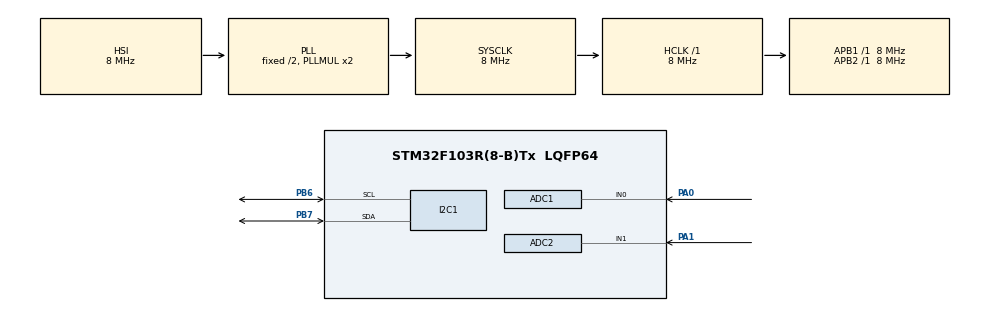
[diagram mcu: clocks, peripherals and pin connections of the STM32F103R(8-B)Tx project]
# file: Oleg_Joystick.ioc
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ADC1.Channel-0\#ChannelRegularConversion=ADC_CHANNEL_0
ADC1.NbrOfConversionFlag=1
ADC1.Rank-0\#ChannelRegularConversion=1
ADC1.SamplingTime-0\#ChannelRegularConversion=ADC_SAMPLETIME_1CYCLE_5
ADC1.master=1
ADC2.Channel-0\#ChannelRegularConversion=ADC_CHANNEL_1
ADC2.NbrOfConversionFlag=1
ADC2.Rank-0\#ChannelRegularConversion=1
ADC2.SamplingTime-0\#ChannelRegularConversion=ADC_SAMPLETIME_1CYCLE_5
I2C1.DutyCycle=I2C_DUTYCYCLE_16_9
I2C1.I2C_Mode=I2C_Fast
Mcu.Family=STM32F1
Mcu.Name=STM32F103R(8-B)Tx
Mcu.Package=LQFP64
NVIC.PriorityGroup=NVIC_PRIORITYGROUP_4
PA0-WKUP.Signal=ADCx_IN0
PA1.Signal=ADCx_IN1
PA13.Mode=Serial_Wire
PA13.Signal=SYS_JTMS-SWDIO
PA14.Mode=Serial_Wire
PA14.Signal=SYS_JTCK-SWCLK
PB6.Mode=I2C
PB6.Signal=I2C1_SCL
PB7.Mode=I2C
PB7.Signal=I2C1_SDA
PC14-OSC32_IN.Mode=LSE-External-Oscillator
PC14-OSC32_IN.Signal=RCC_OSC32_IN
PC15-OSC32_OUT.Mode=LSE-External-Oscillator
PC15-OSC32_OUT.Signal=RCC_OSC32_OUT
PD0-OSC_IN.Mode=HSE-External-Oscillator
PD0-OSC_IN.Signal=RCC_OSC_IN
PD1-OSC_OUT.Mode=HSE-External-Oscillator
PD1-OSC_OUT.Signal=RCC_OSC_OUT
ProjectManager.HeapSize=0x200
ProjectManager.StackSize=0x400
ProjectManager.TargetToolchain=STM32CubeIDE
RCC.ADCPresc=RCC_ADCPCLK2_DIV4
RCC.AHBFreq_Value=8000000
RCC.APB1Freq_Value=8000000
RCC.APB1TimFreq_Value=8000000
RCC.APB2Freq_Value=8000000
RCC.APB2TimFreq_Value=8000000
RCC.HCLKFreq_Value=8000000
RCC.SYSCLKFreq_VALUE=8000000
RCC.SYSCLKSource=RCC_SYSCLKSOURCE_PLLCLK
RCC.USBFreq_Value=8000000
SH.ADCx_IN0.0=ADC1_IN0,IN0
SH.ADCx_IN1.0=ADC2_IN1,IN1
board=custom

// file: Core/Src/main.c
/* USER CODE BEGIN Header */
/**
  ******************************************************************************
  * @file           : main.c
  * @brief          : Main program body
  ******************************************************************************
  * @attention
  *
  * Copyright (c) 2023 STMicroelectronics.
  * All rights reserved.
  *
  * This software is licensed under terms that can be found in the LICENSE file
  * in the root directory of this software component.
  * If no LICENSE file comes with this software, it is provided AS-IS.
  *
  ******************************************************************************
  */
/* USER CODE END Header */
#include "main.h"

/* USER CODE BEGIN Includes */
#include "Oled1306.h"
/* USER CODE END Includes */

ADC_HandleTypeDef hadc1;
ADC_HandleTypeDef hadc2;

I2C_HandleTypeDef hi2c1;

/* USER CODE BEGIN PV */
char lcd_x=0, lcd_y=0;
int map(float val, float I_Min, float I_Max, float O_Min, float O_Max)
	{
		return(((val-I_Min)*((O_Max-O_Min)/(I_Max-I_Min)))+O_Min);
   }
/* USER CODE END PV */

void SystemClock_Config(void);
static void MX_GPIO_Init(void);
static void MX_ADC1_Init(void);
static void MX_ADC2_Init(void);
static void MX_I2C1_Init(void);

int main(void)
{

  /* MCU Configuration--------------------------------------------------------*/

  /* Reset of all peripherals, Initializes the Flash interface and the Systick. */
  HAL_Init();

  /* Configure the system clock */
  SystemClock_Config();

  /* Initialize all configured peripherals */
  MX_GPIO_Init();
  MX_ADC1_Init();
  MX_ADC2_Init();
  MX_I2C1_Init();
  /* USER CODE BEGIN 2 */
  HAL_Delay(100);
  OLED_init();
  LCD_Clear();
  LCD_Goto(0, 0);
  char* text = "[]";
  OLED_string(text);
  /* USER CODE END 2 */

  /* Infinite loop */
  /* USER CODE BEGIN WHILE */
  while (1)
  {
	  HAL_ADC_Start(&hadc1);
	  HAL_ADC_PollForConversion(&hadc1, 100);
	  int val1 = HAL_ADC_GetValue(&hadc1);
	  HAL_ADC_Stop(&hadc1);
	  HAL_Delay(10);

	  HAL_ADC_Start(&hadc2);
	  HAL_ADC_PollForConversion(&hadc2, 100);
	  int val2 = HAL_ADC_GetValue(&hadc2);
	  HAL_ADC_Stop(&hadc2);
	  HAL_Delay(10);

	  int x = map(val1, 0, 4095, 0, 100);
	  int y = map(val2, 0, 4095, 0, 100);
/*
	  LCD_Goto(0, 0);
	  OLED_num_to_str(x, 4);
	  LCD_Goto(0, 1);
	  OLED_num_to_str(y, 4);
	  HAL_Delay(200);
*/
	  if(x==100)
	  {
	  	lcd_x+=8;
	  	LCD_Clear();
	  	LCD_Goto(lcd_x, lcd_y);
	  	OLED_string(text);
	  	HAL_Delay(250);
	  }
	  if(x==0)
	  {
	  	lcd_x-=8;
	  	LCD_Clear();
	  	LCD_Goto(lcd_x, lcd_y);
	  	OLED_string(text);
	  	HAL_Delay(250);
	  }
	  if(y==100)
	  {
		  lcd_y++;
		  LCD_Clear();
		  LCD_Goto(lcd_x, lcd_y);
		  OLED_string(text);
		  HAL_Delay(250);
	  }
	  if(y==0)
	  {
	  	lcd_y--;
	  	LCD_Clear();
	  	LCD_Goto(lcd_x, lcd_y);
	    OLED_string(text);
	  	HAL_Delay(250);
	  }

    /* USER CODE END WHILE */

  }
}

void SystemClock_Config(void)
{
  RCC_OscInitTypeDef RCC_OscInitStruct = {0};
  RCC_ClkInitTypeDef RCC_ClkInitStruct = {0};
  RCC_PeriphCLKInitTypeDef PeriphClkInit = {0};

  /** Initializes the RCC Oscillators according to the specified parameters
  * in the RCC_OscInitTypeDef structure.
  */
  RCC_OscInitStruct.OscillatorType = RCC_OSCILLATORTYPE_HSI;
  RCC_OscInitStruct.HSIState = RCC_HSI_ON;
  RCC_OscInitStruct.HSICalibrationValue = RCC_HSICALIBRATION_DEFAULT;
  RCC_OscInitStruct.PLL.PLLState = RCC_PLL_ON;
  RCC_OscInitStruct.PLL.PLLSource = RCC_PLLSOURCE_HSI_DIV2;
  RCC_OscInitStruct.PLL.PLLMUL = RCC_PLL_MUL2;
  if (HAL_RCC_OscConfig(&RCC_OscInitStruct) != HAL_OK)
  {
    Error_Handler();
  }

  /** Initializes the CPU, AHB and APB buses clocks
  */
  RCC_ClkInitStruct.ClockType = RCC_CLOCKTYPE_HCLK|RCC_CLOCKTYPE_SYSCLK
                              |RCC_CLOCKTYPE_PCLK1|RCC_CLOCKTYPE_PCLK2;
  RCC_ClkInitStruct.SYSCLKSource = RCC_SYSCLKSOURCE_PLLCLK;
  RCC_ClkInitStruct.AHBCLKDivider = RCC_SYSCLK_DIV1;
  RCC_ClkInitStruct.APB1CLKDivider = RCC_HCLK_DIV1;
  RCC_ClkInitStruct.APB2CLKDivider = RCC_HCLK_DIV1;

  if (HAL_RCC_ClockConfig(&RCC_ClkInitStruct, FLASH_LATENCY_0) != HAL_OK)
  {
    Error_Handler();
  }
  PeriphClkInit.PeriphClockSelection = RCC_PERIPHCLK_ADC;
  PeriphClkInit.AdcClockSelection = RCC_ADCPCLK2_DIV4;
  if (HAL_RCCEx_PeriphCLKConfig(&PeriphClkInit) != HAL_OK)
  {
    Error_Handler();
  }
}

static void MX_ADC1_Init(void)
{

  ADC_ChannelConfTypeDef sConfig = {0};

  /** Common config
  */
  hadc1.Instance = ADC1;
  hadc1.Init.ScanConvMode = ADC_SCAN_DISABLE;
  hadc1.Init.ContinuousConvMode = DISABLE;
  hadc1.Init.DiscontinuousConvMode = DISABLE;
  hadc1.Init.ExternalTrigConv = ADC_SOFTWARE_START;
  hadc1.Init.DataAlign = ADC_DATAALIGN_RIGHT;
  hadc1.Init.NbrOfConversion = 1;
  if (HAL_ADC_Init(&hadc1) != HAL_OK)
  {
    Error_Handler();
  }

  /** Configure Regular Channel
  */
  sConfig.Channel = ADC_CHANNEL_0;
  sConfig.Rank = ADC_REGULAR_RANK_1;
  sConfig.SamplingTime = ADC_SAMPLETIME_1CYCLE_5;
  if (HAL_ADC_ConfigChannel(&hadc1, &sConfig) != HAL_OK)
  {
    Error_Handler();
  }

}

static void MX_ADC2_Init(void)
{

  ADC_ChannelConfTypeDef sConfig = {0};

  /** Common config
  */
  hadc2.Instance = ADC2;
  hadc2.Init.ScanConvMode = ADC_SCAN_DISABLE;
  hadc2.Init.ContinuousConvMode = DISABLE;
  hadc2.Init.DiscontinuousConvMode = DISABLE;
  hadc2.Init.ExternalTrigConv = ADC_SOFTWARE_START;
  hadc2.Init.DataAlign = ADC_DATAALIGN_RIGHT;
  hadc2.Init.NbrOfConversion = 1;
  if (HAL_ADC_Init(&hadc2) != HAL_OK)
  {
    Error_Handler();
  }

  /** Configure Regular Channel
  */
  sConfig.Channel = ADC_CHANNEL_1;
  sConfig.Rank = ADC_REGULAR_RANK_1;
  sConfig.SamplingTime = ADC_SAMPLETIME_1CYCLE_5;
  if (HAL_ADC_ConfigChannel(&hadc2, &sConfig) != HAL_OK)
  {
    Error_Handler();
  }

}

static void MX_I2C1_Init(void)
{

  hi2c1.Instance = I2C1;
  hi2c1.Init.ClockSpeed = 400000;
  hi2c1.Init.DutyCycle = I2C_DUTYCYCLE_16_9;
  hi2c1.Init.OwnAddress1 = 0;
  hi2c1.Init.AddressingMode = I2C_ADDRESSINGMODE_7BIT;
  hi2c1.Init.DualAddressMode = I2C_DUALADDRESS_DISABLE;
  hi2c1.Init.OwnAddress2 = 0;
  hi2c1.Init.GeneralCallMode = I2C_GENERALCALL_DISABLE;
  hi2c1.Init.NoStretchMode = I2C_NOSTRETCH_DISABLE;
  if (HAL_I2C_Init(&hi2c1) != HAL_OK)
  {
    Error_Handler();
  }

}

static void MX_GPIO_Init(void)
{

  /* GPIO Ports Clock Enable */
  __HAL_RCC_GPIOC_CLK_ENABLE();
  __HAL_RCC_GPIOD_CLK_ENABLE();
  __HAL_RCC_GPIOA_CLK_ENABLE();
  __HAL_RCC_GPIOB_CLK_ENABLE();

}

void Error_Handler(void)
{
  __disable_irq();
  while (1)
  {
  }
}
